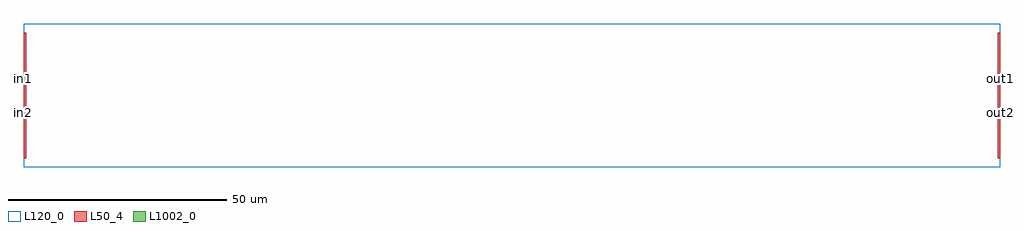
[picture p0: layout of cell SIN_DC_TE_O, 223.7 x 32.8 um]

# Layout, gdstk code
import gdstk
lib = gdstk.Library(unit=1e-6, precision=1e-09)
def R(c, l, rs):  # rectangles x0, y0, x1, y1
    for r in rs: c.add(gdstk.rectangle(r[:2], r[2:], *l))
L50_4 = (50, 4)
L120_0 = (120, 0)
L1002_0 = (1002, 0)

sin_dc_te_o = lib.new_cell('SIN_DC_TE_O')
R(sin_dc_te_o, L50_4, [(0,2,0.5,12), (223.2,2,223.7,12), (0,13.1,0.5,19.7), (223.2,13.1,223.7,19.7), (0,20.8,0.5,30.8), (223.2,20.8,223.7,30.8)])
R(sin_dc_te_o, L120_0, [(0,0,223.7,32.8)])
R(sin_dc_te_o, L1002_0, [(0,12,0.5,13.1), (223.2,12,223.7,13.1), (0,19.7,0.5,20.8), (223.2,19.7,223.7,20.8)])
sin_dc_te_o.add(gdstk.Label('out2', (223.7,12.584), layer=1000, texttype=0))
sin_dc_te_o.add(gdstk.Label('out1', (223.7,20.294), layer=1000, texttype=0))
sin_dc_te_o.add(gdstk.Label('in1', (0,20.328), layer=1000, texttype=0))
sin_dc_te_o.add(gdstk.Label('in2', (0,12.597), layer=1000, texttype=0))

lib.write_gds('SIN_DC_TE_O.gds')
